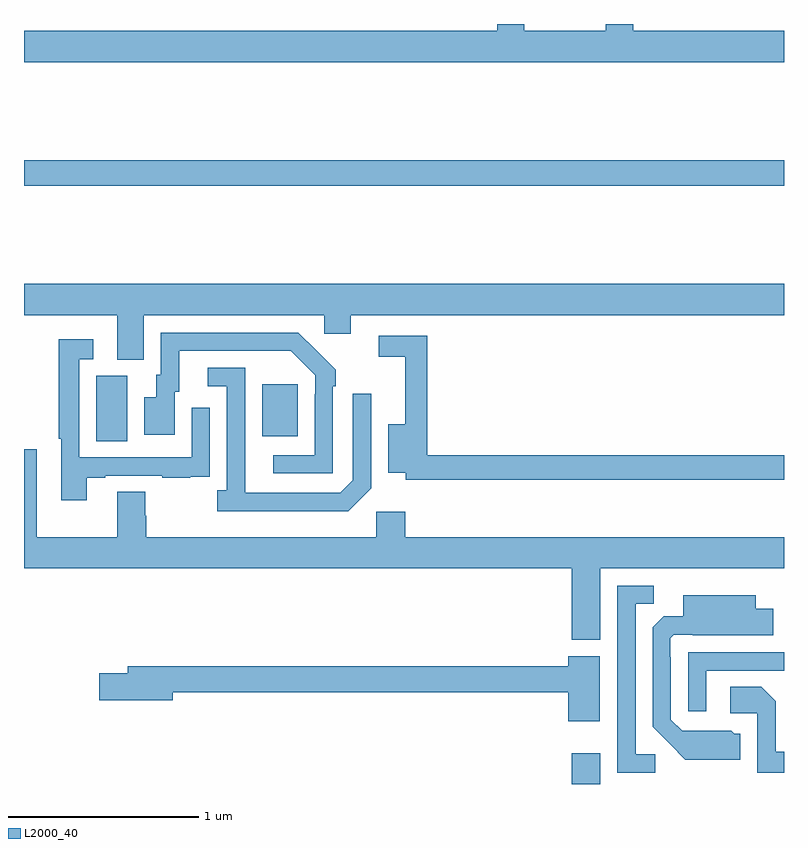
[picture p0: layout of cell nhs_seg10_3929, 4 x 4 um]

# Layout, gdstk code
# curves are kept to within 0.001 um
import gdstk
lib = gdstk.Library(unit=1e-6, precision=1e-09)
def R(c, l, rs):  # rectangles x0, y0, x1, y1
    for r in rs: c.add(gdstk.rectangle(r[:2], r[2:], *l))
def P(c, l, *ps):  # polygons
    for p in ps: c.add(gdstk.Polygon(p, *l))
L2000_40 = (2000, 40)

nhs_seg10_3929 = lib.new_cell('nhs_seg10_3929')
R(nhs_seg10_3929, L2000_40, [(329.882,1312.5,330.034,1312.663), (327.38,1314.304,327.544,1314.648), (328.253,1314.329,328.441,1314.604), (327,1315.648,331,1315.784)])
P(nhs_seg10_3929, L2000_40, [(331,1316.464),(330.206,1316.464),(330.206,1316.5),(330.062,1316.5),(330.062,1316.464),(329.632,1316.464),(329.632,1316.5),(329.492,1316.5),(329.492,1316.464),(327,1316.464),(327,1316.3),(331,1316.3)],
  [(327.631,1314.968),(328.581,1314.968),(328.581,1314.87),(328.72,1314.87),(328.72,1314.968),(331,1314.968),(331,1315.132),(327,1315.132),(327,1314.968),(327.491,1314.968),(327.491,1314.733),(327.631,1314.733)],
  [(328.626,1314.593),(328.641,1314.593),(328.641,1314.681),(328.444,1314.876),(327.72,1314.876),(327.72,1314.654),(327.695,1314.654),(327.695,1314.535),(327.632,1314.535),(327.632,1314.339),(327.793,1314.339),(327.793,1314.564),(327.817,1314.564),(327.817,1314.78),(328.405,1314.78),(328.533,1314.651),(328.533,1314.551),(328.53,1314.551),(328.53,1314.231),(328.311,1314.231),(328.311,1314.135),(328.626,1314.135)],
  [(331,1314.23),(329.123,1314.23),(329.123,1314.858),(328.866,1314.858),(328.866,1314.75),(329.006,1314.75),(329.006,1314.394),(328.916,1314.394),(328.916,1314.137),(329.01,1314.137),(329.01,1314.102),(331,1314.102)],
  [(327.331,1314.111),(327.427,1314.111),(327.427,1314.123),(327.727,1314.123),(327.727,1314.111),(327.875,1314.111),(327.875,1314.117),(327.977,1314.117),(327.977,1314.226),(327.978,1314.226),(327.978,1314.481),(327.882,1314.481),(327.882,1314.219),(327.291,1314.219),(327.291,1314.735),(327.364,1314.735),(327.364,1314.841),(327.183,1314.841),(327.183,1314.316),(327.195,1314.316),(327.195,1313.994),(327.331,1313.994)],
  [(328.827,1314.057),(328.827,1314.553),(328.731,1314.553),(328.731,1314.099),(328.665,1314.033),(328.165,1314.033),(328.164,1314.69),(327.966,1314.69),(327.966,1314.594),(328.068,1314.594),(328.068,1314.046),(328.017,1314.046),(328.017,1313.936),(328.706,1313.936)],
  [(330.034,1313.636),(331,1313.636),(331,1313.8),(329.006,1313.8),(329.006,1313.932),(328.854,1313.932),(328.854,1313.8),(327.644,1313.8),(327.644,1313.913),(327.639,1313.913),(327.639,1314.038),(327.491,1314.038),(327.491,1313.8),(327.067,1313.8),(327.067,1314.262),(327,1314.262),(327,1313.636),(329.882,1313.636),(329.882,1313.258),(330.034,1313.258)],
  [(330.322,1312.656),(330.219,1312.656),(330.219,1313.449),(330.315,1313.449),(330.315,1313.544),(330.123,1313.544),(330.123,1312.56),(330.322,1312.56)],
  [(330.769,1312.764),(330.738,1312.764),(330.722,1312.78),(330.465,1312.779),(330.405,1312.839),(330.405,1313.168),(330.402,1313.168),(330.402,1313.268),(330.42,1313.286),(330.52,1313.286),(330.52,1313.282),(330.944,1313.282),(330.944,1313.422),(330.85,1313.422),(330.85,1313.494),(330.47,1313.494),(330.47,1313.383),(330.368,1313.383),(330.309,1313.324),(330.309,1312.802),(330.481,1312.628),(330.769,1312.628)],
  [(330.591,1313.097),(331,1313.097),(331,1313.193),(330.495,1313.193),(330.495,1312.884),(330.591,1312.884)],
  [(330.031,1313.173),(329.864,1313.173),(329.864,1313.12),(327.545,1313.12),(327.545,1313.084),(327.396,1313.084),(327.396,1312.942),(327.784,1312.942),(327.784,1312.984),(329.864,1312.984),(329.864,1312.83),(330.031,1312.83)],
  [(331,1312.669),(330.957,1312.669),(330.957,1312.936),(330.881,1313.012),(330.717,1313.012),(330.717,1312.872),(330.858,1312.872),(330.858,1312.56),(331,1312.56)])

lib.write_gds('nhs_seg10_3929.gds')
